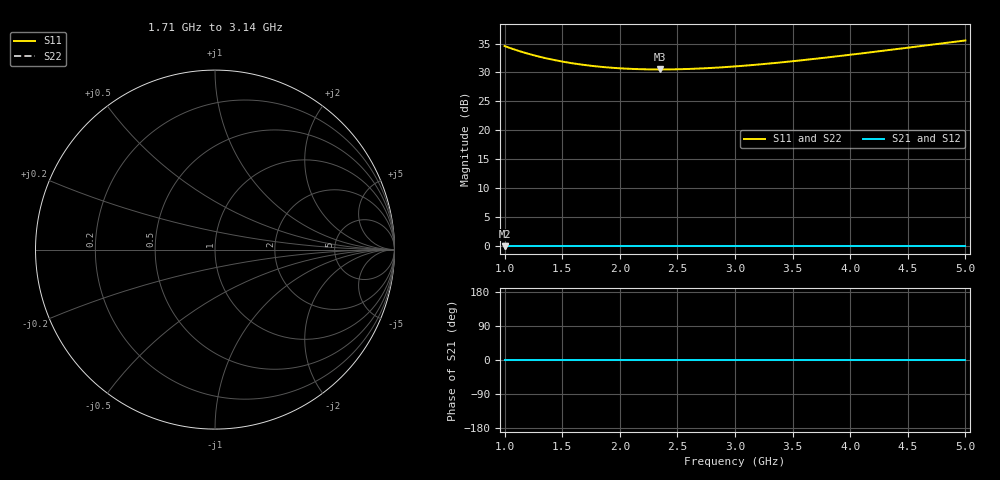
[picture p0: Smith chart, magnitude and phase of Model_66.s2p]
# GHZ S RI R 50
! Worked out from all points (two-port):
!   401 points, 1 GHz to 5 GHz, reference 50 ohm
!   highest |S21| = 0.00 dB at 1 GHz (marker M1); lowest = 0.0 dB at 1 GHz (marker M2)
!   |S21| within 3 dB of the highest: start of sweep to end of sweep
!   lowest |S11| = 30.5 dB at 2.35 GHz (marker M3)
!   |S11| at or under -10 dB: nowhere
!   |S22| runs from 30.5 to 35.5 dB; largest |S21 - S12| = 0
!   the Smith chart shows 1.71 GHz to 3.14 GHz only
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1  53.5 0  1 0  1 0  53.5 0
1.02  52.6 0  1 0  1 0  52.6 0
1.15  47.63 0  1 0  1 0  47.63 0
1.22  45.46 0  1 0  1 0  45.46 0
1.3  43.34 0  1 0  1 0  43.34 0
1.38  41.53 0  1 0  1 0  41.53 0
1.47  39.81 0  1 0  1 0  39.81 0
1.57  38.24 0  1 0  1 0  38.24 0
1.67  36.96 0  1 0  1 0  36.96 0
1.82  35.51 0  1 0  1 0  35.51 0
1.98  34.47 0  1 0  1 0  34.47 0
2.15  33.83 0  1 0  1 0  33.83 0
2.34  33.59 0  1 0  1 0  33.59 0
2.35  33.59 0  1 0  1 0  33.59 0
2.66  34.1 0  1 0  1 0  34.1 0
3  35.68 0  1 0  1 0  35.68 0
3.33  38.05 0  1 0  1 0  38.05 0
3.67  41.24 0  1 0  1 0  41.24 0
4  44.99 0  1 0  1 0  44.99 0
4.34  49.46 0  1 0  1 0  49.46 0
4.64  53.9 0  1 0  1 0  53.9 0
5  59.8 0  1 0  1 0  59.8 0
